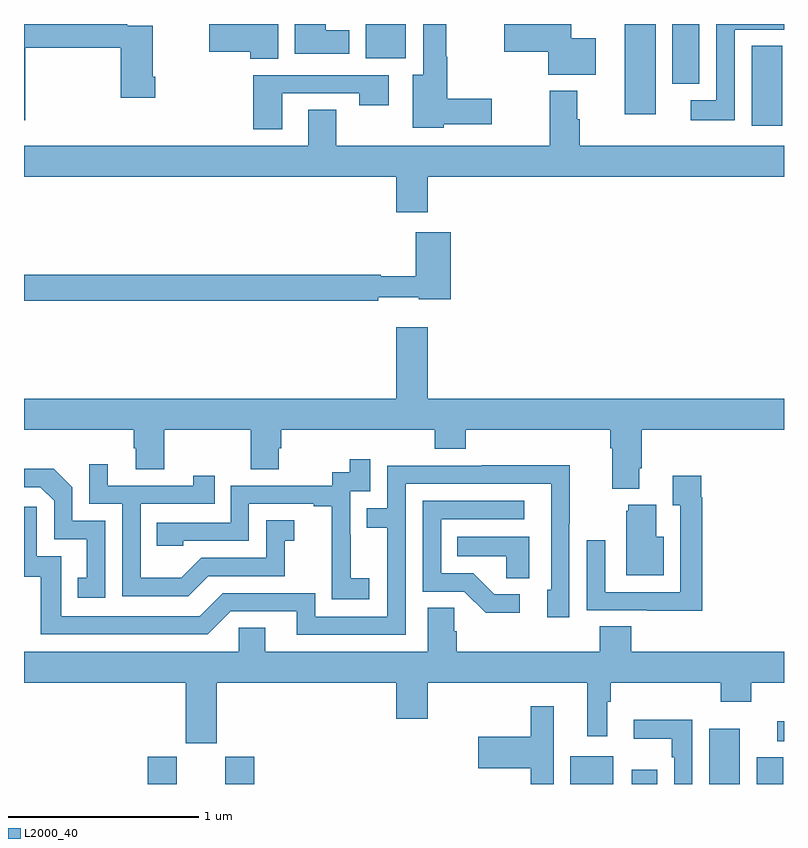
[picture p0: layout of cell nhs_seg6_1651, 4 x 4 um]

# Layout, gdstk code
import gdstk
lib = gdstk.Library(unit=1e-6, precision=1e-09)
def R(c, l, rs):  # rectangles x0, y0, x1, y1
    for r in rs: c.add(gdstk.rectangle(r[:2], r[2:], *l))
def P(c, l, *ps):  # polygons
    for p in ps: c.add(gdstk.Polygon(p, *l))
L2000_40 = (2000, 40)

nhs_seg6_1651 = lib.new_cell('nhs_seg6_1651')
R(nhs_seg6_1651, L2000_40, [(211.652,917.5,211.804,917.643), (212.06,917.5,212.213,917.643), (213.875,917.5,214.102,917.647), (214.199,917.5,214.333,917.575), (214.607,917.5,214.768,917.791), (214.856,917.5,214.996,917.641), (214.965,917.726,215,917.83), (214.829,920.964,214.99,921.385), (214.163,921.024,214.324,921.5), (214.412,921.185,214.555,921.5), (212.798,921.32,213.01,921.5)])
P(nhs_seg6_1651, L2000_40, [(211.007,921.376),(211.508,921.376),(211.508,921.111),(211.691,921.111),(211.691,921.223),(211.678,921.223),(211.678,921.492),(211.544,921.492),(211.544,921.5),(211,921.5),(211,920.993),(211.007,920.993)],
  [(212.338,921.5),(211.974,921.5),(211.974,921.353),(212.192,921.353),(212.192,921.316),(212.338,921.316)],
  [(212.713,921.466),(212.587,921.466),(212.587,921.5),(212.426,921.5),(212.426,921.344),(212.713,921.344)],
  [(214.009,921.424),(213.88,921.424),(213.88,921.5),(213.528,921.5),(213.528,921.353),(213.758,921.353),(213.758,921.233),(214.009,921.233)],
  [(214.74,921.471),(214.986,921.471),(214.986,921.47),(215,921.47),(215,921.5),(214.644,921.5),(214.644,921.1),(214.509,921.1),(214.509,920.993),(214.74,920.993)],
  [(213.21,920.972),(213.463,920.972),(213.463,921.107),(213.227,921.107),(213.227,921.328),(213.222,921.328),(213.222,921.5),(213.101,921.5),(213.101,921.232),(213.047,921.232),(213.047,920.954),(213.21,920.954)],
  [(212.359,921.135),(212.764,921.135),(212.764,921.072),(212.92,921.072),(212.92,921.231),(212.207,921.231),(212.207,920.946),(212.359,920.946)],
  [(213.124,920.696),(215,920.696),(215,920.86),(213.926,920.86),(213.926,920.999),(213.913,920.999),(213.913,921.148),(213.766,921.148),(213.766,920.86),(212.643,920.86),(212.643,921.05),(212.495,921.05),(212.495,920.86),(211,920.86),(211,920.696),(212.96,920.696),(212.96,920.508),(213.124,920.508)],
  [(212.864,920.063),(213.078,920.063),(213.078,920.051),(213.245,920.051),(213.245,920.404),(213.062,920.404),(213.062,920.173),(212.878,920.173),(212.878,920.18),(211,920.18),(211,920.044),(212.864,920.044)],
  [(214.237,919.162),(214.25,919.162),(214.25,919.364),(215,919.364),(215,919.528),(213.124,919.528),(213.124,919.903),(212.96,919.903),(212.96,919.528),(211,919.528),(211,919.364),(211.577,919.364),(211.577,919.266),(211.589,919.266),(211.589,919.156),(211.737,919.156),(211.737,919.364),(212.194,919.364),(212.194,919.156),(212.341,919.156),(212.341,919.266),(212.354,919.266),(212.354,919.364),(213.161,919.364),(213.161,919.265),(213.326,919.265),(213.326,919.364),(214.085,919.364),(214.085,919.268),(214.097,919.268),(214.097,919.055),(214.237,919.055)],
  [(212.818,918.583),(212.72,918.583),(212.72,918.812),(212.718,918.812),(212.718,919.041),(212.823,919.041),(212.823,919.21),(212.715,919.21),(212.715,919.14),(212.622,919.14),(212.622,919.071),(212.088,919.071),(212.088,918.876),(211.699,918.876),(211.699,918.753),(211.839,918.753),(211.839,918.78),(212.184,918.78),(212.184,918.975),(212.525,918.975),(212.525,918.963),(212.621,918.963),(212.621,918.679),(212.62,918.679),(212.62,918.473),(212.818,918.473)],
  [(211.969,918.594),(212.373,918.594),(212.373,918.779),(212.422,918.779),(212.422,918.889),(212.274,918.889),(212.274,918.69),(211.932,918.69),(211.828,918.586),(211.614,918.586),(211.614,918.975),(212.003,918.975),(212.003,919.123),(211.892,919.123),(211.892,919.071),(211.441,919.071),(211.441,919.183),(211.344,919.183),(211.344,918.975),(211.518,918.975),(211.518,918.489),(211.864,918.489)],
  [(213.009,919.08),(213.774,919.08),(213.774,918.522),(213.755,918.522),(213.755,918.378),(213.87,918.378),(213.87,918.871),(213.873,918.871),(213.873,919.178),(213.409,919.178),(213.409,919.176),(212.913,919.176),(212.913,918.951),(212.803,918.951),(212.803,918.85),(212.913,918.85),(212.913,918.381),(212.532,918.381),(212.532,918.504),(212.046,918.504),(211.926,918.384),(211.197,918.384),(211.197,918.699),(211.068,918.699),(211.068,918.958),(211,918.958),(211,918.591),(211.089,918.591),(211.089,918.288),(211.968,918.288),(212.088,918.408),(212.435,918.408),(212.435,918.285),(213.009,918.285)],
  [(211.428,918.885),(211.254,918.885),(211.254,919.062),(211.156,919.16),(211,919.16),(211,919.062),(211.086,919.062),(211.158,918.99),(211.158,918.789),(211.331,918.789),(211.331,918.585),(211.282,918.585),(211.282,918.48),(211.428,918.48)],
  [(214.571,919.01),(214.564,919.01),(214.564,919.123),(214.415,919.123),(214.415,918.967),(214.455,918.967),(214.455,918.51),(214.059,918.51),(214.059,918.784),(213.963,918.784),(213.963,918.414),(214.279,918.414),(214.279,918.413),(214.571,918.413)],
  [(213.61,918.498),(213.475,918.498),(213.364,918.609),(213.195,918.609),(213.195,918.894),(213.634,918.894),(213.634,918.99),(213.099,918.99),(213.099,918.513),(213.318,918.513),(213.431,918.401),(213.61,918.401)],
  [(214.366,918.802),(214.327,918.802),(214.327,918.97),(214.181,918.97),(214.181,918.939),(214.169,918.939),(214.169,918.599),(214.366,918.599)],
  [(213.658,918.802),(213.28,918.802),(213.28,918.698),(213.537,918.698),(213.537,918.583),(213.658,918.583)],
  [(212.014,918.032),(212.96,918.032),(212.96,917.844),(213.124,917.844),(213.124,918.032),(213.965,918.032),(213.965,917.751),(214.069,917.751),(214.069,917.932),(214.087,917.932),(214.087,918.032),(214.667,918.032),(214.667,917.933),(214.827,917.933),(214.827,918.032),(215,918.032),(215,918.196),(214.196,918.196),(214.196,918.329),(214.031,918.329),(214.031,918.196),(213.278,918.196),(213.278,918.305),(213.264,918.305),(213.264,918.428),(213.125,918.428),(213.125,918.196),(212.269,918.196),(212.269,918.323),(212.13,918.323),(212.13,918.196),(211,918.196),(211,918.032),(211.85,918.032),(211.85,917.715),(212.014,917.715)],
  [(213.787,917.908),(213.666,917.908),(213.666,917.749),(213.39,917.749),(213.39,917.584),(213.666,917.584),(213.666,917.5),(213.787,917.5)],
  [(214.518,917.837),(214.209,917.837),(214.209,917.738),(214.41,917.738),(214.41,917.642),(214.422,917.642),(214.422,917.5),(214.518,917.5)])

lib.write_gds('nhs_seg6_1651.gds')
